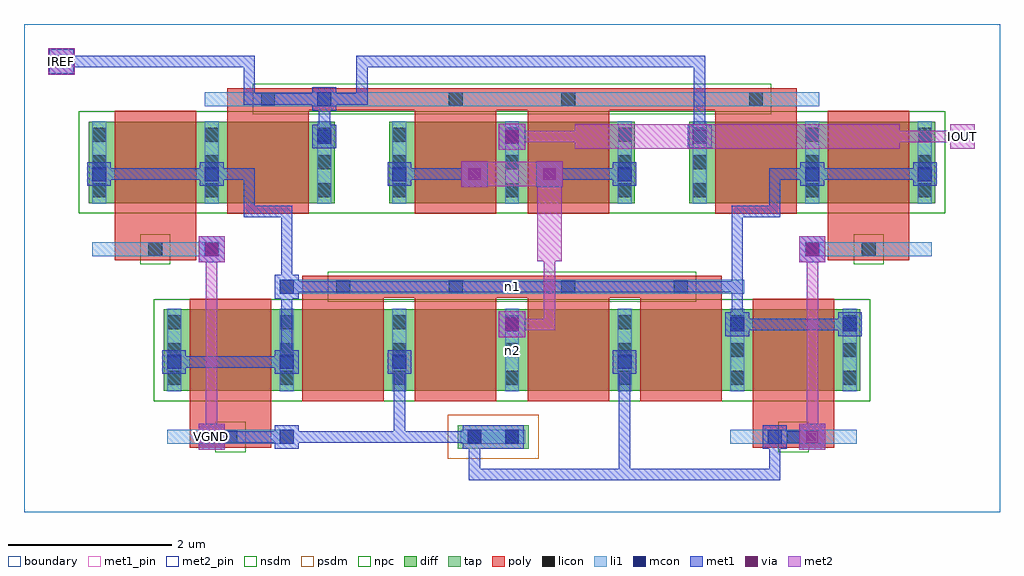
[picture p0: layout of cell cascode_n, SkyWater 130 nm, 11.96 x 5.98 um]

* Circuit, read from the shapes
.subckt cascode_n IOUT IREF VGND n1 n2
XM1 n1 VGND n1 VGND sky130_fd_pr__nfet_01v8 w=1 l=1 m=4
XM2 IREF IREF n1 VGND sky130_fd_pr__nfet_01v8 w=1 l=1 m=2
XM3 VGND n1 n1 VGND sky130_fd_pr__nfet_01v8 w=1 l=1 m=2
XM4 n2 n1 VGND VGND sky130_fd_pr__nfet_01v8 w=1 l=1 m=2
XM5 IOUT IREF n2 VGND sky130_fd_pr__nfet_01v8 w=1 l=1 m=2
.ends

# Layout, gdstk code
import gdstk
lib = gdstk.Library(unit=1e-6, precision=1e-09)
def R(c, l, rs):  # rectangles x0, y0, x1, y1
    for r in rs: c.add(gdstk.rectangle(r[:2], r[2:], *l))
def A(c, l, x, y, w, h, nx, ny, dx, dy):  # array of equal rectangles
    R(c, l, [(x+i*dx, y+j*dy, x+i*dx+w, y+j*dy+h) for i in range(nx) for j in range(ny)])
diff = (65, 20)
tap = (65, 44)
poly = (66, 20)
licon = (66, 44)
li1 = (67, 20)
mcon = (67, 44)
met1_pin = (68, 16)
met1 = (68, 20)
via = (68, 44)
met2_pin = (69, 16)
met2 = (69, 20)
nsdm = (93, 44)
psdm = (94, 20)
npc = (95, 20)
boundary = (235, 4)

cascode_n = lib.new_cell('cascode_n')
A(cascode_n, diff, 0.795, 3.785, 3.01, 1, 3, 1, 3.68, 0)
R(cascode_n, diff, [(1.715,1.485,10.245,2.485)])
R(cascode_n, tap, [(5.315,0.775,6.185,1.065)])
A(cascode_n, poly, 3.41, 1.355, 1, 1.405, 4, 1, 1.38, 0)
R(cascode_n, poly, [(2.03,0.785,3.03,1.055), (8.93,0.785,9.93,1.055), (2.03,0.92,3.03,2.615), (8.93,0.92,9.93,2.615), (3.41,2.625,8.55,2.895), (1.11,3.085,2.11,3.355), (9.85,3.085,10.85,3.355), (1.11,3.22,2.11,4.915), (9.85,3.22,10.85,4.915), (2.49,3.655,3.49,5.06), (4.79,3.655,5.79,5.06), (6.17,3.655,7.17,5.06), (8.47,3.655,9.47,5.06), (2.49,4.925,9.47,5.195)])
A(cascode_n, licon, 1.755, 1.56, 0.17, 0.17, 7, 3, 1.38, 0.34)
A(cascode_n, licon, 3.825, 2.675, 0.17, 0.17, 4, 1, 1.38, 0)
A(cascode_n, licon, 0.835, 3.86, 0.17, 0.17, 3, 3, 1.38, 0.34)
A(cascode_n, licon, 4.515, 3.86, 0.17, 0.17, 3, 3, 1.38, 0.34)
A(cascode_n, licon, 8.195, 3.86, 0.17, 0.17, 3, 3, 1.38, 0.34)
R(cascode_n, licon, [(2.445,0.835,2.615,1.005), (5.435,0.835,5.605,1.005), (5.895,0.835,6.065,1.005), (9.345,0.835,9.515,1.005), (1.525,3.135,1.695,3.305), (10.265,3.135,10.435,3.305), (2.905,4.975,3.075,5.145), (5.205,4.975,5.375,5.145), (6.585,4.975,6.755,5.145), (8.885,4.975,9.055,5.145)])
A(cascode_n, li1, 1.755, 1.48, 0.17, 1.01, 7, 1, 1.38, 0)
A(cascode_n, li1, 0.835, 3.78, 0.17, 1.01, 3, 1, 1.38, 0)
A(cascode_n, li1, 4.515, 3.78, 0.17, 1.01, 3, 1, 1.38, 0)
A(cascode_n, li1, 8.195, 3.78, 0.17, 1.01, 3, 1, 1.38, 0)
R(cascode_n, li1, [(1.755,0.835,3.305,1.005), (5.355,0.835,6.145,1.005), (8.655,0.835,10.205,1.005), (3.135,2.675,8.825,2.845), (0.835,3.135,2.385,3.305), (9.575,3.135,11.125,3.305), (2.215,4.975,9.745,5.145)])
A(cascode_n, mcon, 1.755, 1.755, 0.17, 0.17, 3, 1, 1.38, 0)
A(cascode_n, mcon, 3.595, 4.515, 0.17, 0.17, 3, 1, 2.3, 0)
R(cascode_n, mcon, [(3.135,0.835,3.305,1.005), (5.435,0.835,5.605,1.005), (5.895,0.835,6.065,1.005), (9.115,0.835,9.285,1.005), (7.275,1.755,7.445,1.925), (5.895,2.215,6.065,2.385), (8.655,2.215,8.825,2.385), (10.035,2.215,10.205,2.385), (3.135,2.675,3.305,2.845), (2.215,3.135,2.385,3.305), (9.575,3.135,9.745,3.305), (0.835,4.055,1.005,4.225), (2.215,4.055,2.385,4.225), (4.515,4.055,4.685,4.225), (7.275,4.055,7.445,4.225), (9.575,4.055,9.745,4.225), (10.955,4.055,11.125,4.225), (3.595,4.975,3.765,5.145)])
R(cascode_n, met1_pin, [(2.14,0.76,2.46,1.08)])
A(cascode_n, met1, 1.695, 1.695, 0.29, 0.29, 3, 1, 1.38, 0)
A(cascode_n, met1, 3.535, 4.455, 0.29, 0.29, 3, 1, 2.3, 0)
R(cascode_n, met1, [(5.45,0.39,5.59,0.99), (5.45,0.39,7.43,0.53), (7.29,0.39,9.27,0.53), (7.29,0.39,7.43,1.91), (9.13,0.39,9.27,0.99), (2.14,0.76,2.46,1.08), (9.5,0.76,9.82,1.08), (3.075,0.775,3.365,1.065), (5.375,0.775,6.125,1.065), (9.055,0.775,9.345,1.065), (2.23,0.85,3.29,0.99), (3.15,0.85,4.67,0.99), (4.53,0.85,4.67,1.91), (4.53,0.85,5.59,0.99), (5.45,0.85,5.59,0.99), (9.13,0.85,9.73,0.99), (7.215,1.695,7.505,1.985), (1.77,1.77,3.29,1.91), (3.15,1.77,3.29,2.83), (5.82,2.14,6.14,2.46), (5.835,2.155,6.125,2.445), (8.595,2.155,8.885,2.445), (9.975,2.155,10.265,2.445), (8.67,2.23,10.19,2.37), (8.67,2.23,8.81,2.83), (3.075,2.615,3.365,2.905), (3.15,2.69,3.29,3.75), (3.15,2.69,8.81,2.83), (8.67,2.69,8.81,3.75), (2.14,3.06,2.46,3.38), (9.5,3.06,9.82,3.38), (2.155,3.075,2.445,3.365), (9.515,3.075,9.805,3.365), (2.69,3.61,3.29,3.75), (2.69,3.61,2.83,4.21), (8.67,3.61,9.27,3.75), (9.13,3.61,9.27,4.21), (5.36,3.98,5.68,4.3), (6.28,3.98,6.6,4.3), (0.775,3.995,1.065,4.285), (2.155,3.995,2.445,4.285), (4.455,3.995,4.745,4.285), (7.215,3.995,7.505,4.285), (9.515,3.995,9.805,4.285), (10.895,3.995,11.185,4.285), (0.85,4.07,2.37,4.21), (2.23,4.07,2.83,4.21), (4.53,4.07,5.59,4.21), (6.37,4.07,7.43,4.21), (9.13,4.07,9.73,4.21), (9.59,4.07,11.11,4.21), (5.82,4.44,6.14,4.76), (3.61,4.53,3.75,5.13), (8.21,4.53,8.35,5.59), (3.535,4.915,3.825,5.205), (2.69,4.99,2.83,5.59), (2.69,4.99,3.75,5.13), (3.61,4.99,4.21,5.13), (4.07,4.99,4.21,5.59), (0.3,5.36,0.62,5.68), (0.39,5.45,2.83,5.59), (4.07,5.45,8.35,5.59)])
R(cascode_n, via, [(2.225,0.845,2.375,0.995), (9.585,0.845,9.735,0.995), (5.905,2.225,6.055,2.375), (2.225,3.145,2.375,3.295), (9.585,3.145,9.735,3.295), (5.445,4.065,5.595,4.215), (6.365,4.065,6.515,4.215), (5.905,4.525,6.055,4.675), (0.385,5.445,0.535,5.595)])
R(cascode_n, met2_pin, [(11.35,4.45,11.65,4.75), (0.31,5.37,0.61,5.67)])
R(cascode_n, met2, [(2.14,0.76,2.46,1.08), (9.5,0.76,9.82,1.08), (2.23,0.85,2.37,3.29), (9.59,0.85,9.73,3.29), (5.82,2.14,6.14,2.46), (5.91,2.23,6.51,2.37), (6.37,2.23,6.51,3.29), (2.14,3.06,2.46,3.38), (9.5,3.06,9.82,3.38), (6.29,3.07,6.59,4.29), (5.36,3.98,5.68,4.3), (6.28,3.98,6.6,4.3), (5.37,3.99,6.59,4.29), (5.82,4.44,6.14,4.76), (6.75,4.45,10.73,4.75), (11.35,4.45,11.65,4.75), (5.91,4.53,6.97,4.67), (10.51,4.53,11.57,4.67), (11.43,4.53,11.57,4.67), (0.3,5.36,0.62,5.68), (0.31,5.37,0.61,5.67), (0.39,5.45,0.53,5.59)])
R(cascode_n, nsdm, [(1.59,1.36,10.37,2.61), (0.67,3.66,11.29,4.91)])
R(cascode_n, psdm, [(5.19,0.65,6.31,1.19)])
R(cascode_n, npc, [(2.345,0.735,2.715,1.105), (9.245,0.735,9.615,1.105), (3.725,2.575,8.235,2.945), (1.425,3.035,1.795,3.405), (10.165,3.035,10.535,3.405), (2.805,4.875,9.155,5.245)])
R(cascode_n, boundary, [(0,0,11.96,5.98)])
cascode_n.add(gdstk.Label('n1', (5.98,2.76), layer=67, texttype=5))
cascode_n.add(gdstk.Label('n2', (5.98,1.985), layer=67, texttype=5))
cascode_n.add(gdstk.Label('VGND', (2.3,0.92), layer=68, texttype=5))
cascode_n.add(gdstk.Label('IREF', (0.46,5.52), layer=69, texttype=5))
cascode_n.add(gdstk.Label('IOUT', (11.5,4.6), layer=69, texttype=5))
cascode_n.add(gdstk.Label('VGND', (2.3,0.92), layer=68, texttype=16))
cascode_n.add(gdstk.Label('IREF', (0.46,5.52), layer=69, texttype=16))
cascode_n.add(gdstk.Label('IOUT', (11.5,4.6), layer=69, texttype=16))

lib.write_gds('cascode_n.gds')
